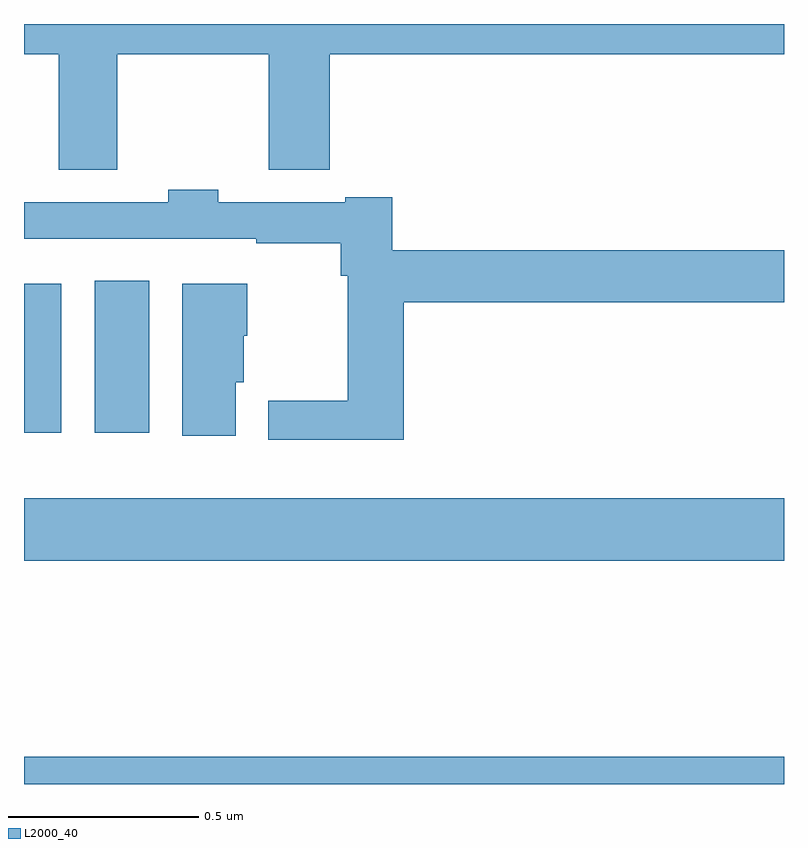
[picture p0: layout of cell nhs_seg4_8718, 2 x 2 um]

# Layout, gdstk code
import gdstk
lib = gdstk.Library(unit=1e-6, precision=1e-09)
def R(c, l, rs):  # rectangles x0, y0, x1, y1
    for r in rs: c.add(gdstk.rectangle(r[:2], r[2:], *l))
def P(c, l, *ps):  # polygons
    for p in ps: c.add(gdstk.Polygon(p, *l))
L2000_40 = (2000, 40)

nhs_seg4_8718 = lib.new_cell('nhs_seg4_8718')
R(nhs_seg4_8718, L2000_40, [(218,794.9,220,794.972), (218,795.488,220,795.652), (218,795.824,218.098,796.216), (218.186,795.824,218.329,796.225)])
P(nhs_seg4_8718, L2000_40, [(218.246,796.82),(218.644,796.82),(218.644,796.516),(218.804,796.516),(218.804,796.82),(220,796.82),(220,796.9),(218,796.9),(218,796.82),(218.092,796.82),(218.092,796.516),(218.246,796.516)],
  [(218.999,796.168),(220,796.168),(220,796.304),(218.969,796.304),(218.969,796.444),(218.846,796.444),(218.846,796.431),(218.511,796.431),(218.511,796.464),(218.379,796.464),(218.379,796.431),(218,796.431),(218,796.335),(218.611,796.335),(218.611,796.323),(218.833,796.323),(218.833,796.238),(218.852,796.238),(218.852,795.908),(218.643,795.908),(218.643,795.806),(218.999,795.806)],
  [(218.557,795.957),(218.578,795.957),(218.578,796.08),(218.587,796.08),(218.587,796.216),(218.417,796.216),(218.417,795.816),(218.557,795.816)])

lib.write_gds('nhs_seg4_8718.gds')
